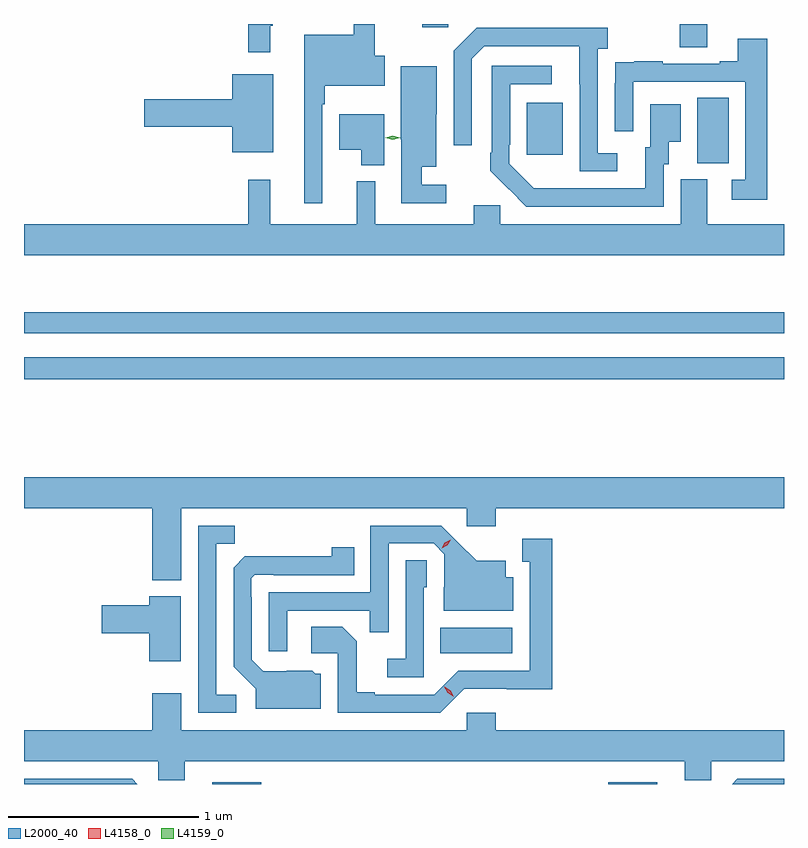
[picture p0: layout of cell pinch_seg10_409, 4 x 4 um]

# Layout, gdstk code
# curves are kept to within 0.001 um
import gdstk
lib = gdstk.Library(unit=1e-6, precision=1e-09)
def R(c, l, rs):  # rectangles x0, y0, x1, y1
    for r in rs: c.add(gdstk.rectangle(r[:2], r[2:], *l))
def P(c, l, *ps):  # polygons
    for p in ps: c.add(gdstk.Polygon(p, *l))
L2000_40 = (2000, 40)
L4158_0 = (4158, 0)
L4159_0 = (4159, 0)

pinch_seg10_409 = lib.new_cell('pinch_seg10_409')
R(pinch_seg10_409, L2000_40, [(365.052,1320.177,365.309,1320.186), (367.135,1320.177,367.393,1320.186), (366.25,1320.866,366.631,1321), (364.06,1322.308,368.06,1322.424), (364.06,1322.55,368.06,1322.659), (367.604,1323.445,367.768,1323.788), (366.707,1323.489,366.895,1323.763), (367.51,1324.054,367.657,1324.177), (366.155,1324.161,366.294,1324.177)])
P(pinch_seg10_409, L2000_40, [(365.631,1323.755),(365.644,1323.755),(365.644,1323.851),(365.959,1323.851),(365.959,1324.009),(365.907,1324.009),(365.907,1324.177),(365.796,1324.177),(365.796,1324.12),(365.534,1324.12),(365.534,1323.234),(365.631,1323.234)],
  [(365.239,1324.029),(365.356,1324.029),(365.356,1324.169),(365.368,1324.169),(365.368,1324.177),(365.239,1324.177)],
  [(367.183,1323.498),(367.08,1323.498),(367.08,1324.046),(367.132,1324.046),(367.132,1324.156),(366.442,1324.156),(366.321,1324.035),(366.321,1323.54),(366.417,1323.54),(366.417,1323.993),(366.483,1324.059),(366.983,1324.059),(366.984,1323.402),(367.183,1323.402)],
  [(367.973,1324.099),(367.817,1324.099),(367.817,1323.982),(367.721,1323.982),(367.721,1323.969),(367.421,1323.969),(367.421,1323.982),(367.273,1323.982),(367.273,1323.975),(367.171,1323.975),(367.171,1323.866),(367.17,1323.866),(367.17,1323.612),(367.266,1323.612),(367.266,1323.873),(367.857,1323.873),(367.857,1323.357),(367.785,1323.357),(367.785,1323.252),(367.973,1323.252)],
  [(367.428,1323.438),(367.453,1323.438),(367.453,1323.557),(367.516,1323.557),(367.516,1323.754),(367.355,1323.754),(367.355,1323.528),(367.331,1323.528),(367.331,1323.312),(366.744,1323.313),(366.615,1323.441),(366.615,1323.541),(366.618,1323.541),(366.618,1323.861),(366.838,1323.861),(366.838,1323.957),(366.522,1323.957),(366.522,1323.499),(366.515,1323.499),(366.515,1323.404),(366.612,1323.306),(366.613,1323.307),(366.704,1323.216),(367.428,1323.216)],
  [(366.283,1323.33),(366.154,1323.33),(366.154,1323.425),(366.229,1323.425),(366.229,1323.702),(366.232,1323.702),(366.232,1323.955),(366.044,1323.955),(366.044,1323.57),(366.045,1323.57),(366.045,1323.234),(366.283,1323.234)],
  [(365.371,1323.913),(365.156,1323.913),(365.156,1323.782),(364.692,1323.782),(364.692,1323.635),(365.156,1323.635),(365.156,1323.503),(365.371,1323.503)],
  [(365.956,1323.703),(365.72,1323.703),(365.72,1323.515),(365.834,1323.515),(365.834,1323.434),(365.956,1323.434)],
  [(368.06,1323.124),(367.657,1323.124),(367.657,1323.36),(367.517,1323.36),(367.517,1323.124),(366.567,1323.124),(366.567,1323.222),(366.428,1323.222),(366.428,1323.124),(365.908,1323.124),(365.908,1323.349),(365.81,1323.349),(365.81,1323.124),(365.357,1323.124),(365.357,1323.358),(365.239,1323.358),(365.239,1323.124),(364.06,1323.124),(364.06,1322.96),(368.06,1322.96)],
  [(364.888,1321.628),(366.39,1321.628),(366.39,1321.533),(366.542,1321.533),(366.542,1321.628),(368.06,1321.628),(368.06,1321.792),(364.06,1321.792),(364.06,1321.628),(364.736,1321.628),(364.736,1321.25),(364.888,1321.25)],
  [(365.445,1321.089),(365.881,1321.089),(365.881,1320.976),(365.979,1320.976),(365.979,1321.443),(366.216,1321.443),(366.273,1321.386),(366.273,1321.212),(366.269,1321.212),(366.269,1321.088),(366.634,1321.088),(366.634,1321.264),(366.595,1321.264),(366.595,1321.351),(366.443,1321.351),(366.256,1321.536),(365.883,1321.536),(365.883,1321.185),(365.349,1321.185),(365.349,1320.876),(365.445,1320.876)],
  [(365.176,1320.648),(365.073,1320.648),(365.073,1321.441),(365.169,1321.441),(365.169,1321.536),(364.977,1321.536),(364.977,1320.552),(365.176,1320.552)],
  [(366.378,1320.678),(366.841,1320.677),(366.841,1321.468),(366.683,1321.468),(366.683,1321.347),(366.722,1321.347),(366.722,1320.774),(366.345,1320.774),(366.219,1320.648),(365.905,1320.648),(365.905,1320.661),(365.811,1320.661),(365.811,1320.928),(365.735,1321.004),(365.571,1321.004),(365.571,1320.864),(365.712,1320.864),(365.712,1320.552),(366.252,1320.552)],
  [(365.623,1320.756),(365.592,1320.756),(365.576,1320.772),(365.319,1320.771),(365.259,1320.831),(365.259,1321.16),(365.256,1321.16),(365.256,1321.26),(365.274,1321.278),(365.374,1321.278),(365.374,1321.275),(365.798,1321.275),(365.798,1321.423),(365.68,1321.423),(365.68,1321.376),(365.222,1321.375),(365.163,1321.316),(365.163,1320.794),(365.279,1320.678),(365.279,1320.572),(365.623,1320.572)],
  [(366.165,1321.212),(366.18,1321.212),(366.18,1321.355),(366.069,1321.355),(366.069,1320.835),(365.973,1320.835),(365.973,1320.738),(366.165,1320.738)],
  [(364.885,1321.165),(364.718,1321.165),(364.718,1321.118),(364.47,1321.118),(364.47,1320.971),(364.718,1320.971),(364.718,1320.822),(364.885,1320.822)],
  [(366.39,1320.553),(366.39,1320.46),(364.888,1320.46),(364.888,1320.655),(364.736,1320.655),(364.736,1320.46),(364.06,1320.46),(364.06,1320.296),(364.767,1320.296),(364.767,1320.198),(364.906,1320.198),(364.906,1320.296),(367.538,1320.296),(367.538,1320.198),(367.677,1320.198),(367.677,1320.296),(368.06,1320.296),(368.06,1320.46),(366.542,1320.46),(366.542,1320.553)],
  [(368.06,1320.204),(367.814,1320.204),(367.787,1320.177),(368.06,1320.177)],
  [(364.63,1320.204),(364.06,1320.204),(364.06,1320.177),(364.657,1320.177)])
P(pinch_seg10_409, L4158_0, [(366.322,1320.637),(366.29,1320.656),(366.273,1320.688),(366.273,1320.689),(366.274,1320.689),(366.305,1320.669),(366.322,1320.637),(366.322,1320.637)],
  [(366.258,1321.418),(366.258,1321.418),(366.275,1321.448),(366.305,1321.463),(366.305,1321.463),(366.305,1321.462),(366.288,1321.433),(366.258,1321.418)])
P(pinch_seg10_409, L4159_0, [(366,1323.568),(365.96,1323.578),(365.96,1323.578),(365.96,1323.578),(366,1323.588),(366.04,1323.579),(366.04,1323.579),(366.04,1323.579)])

lib.write_gds('pinch_seg10_409.gds')
